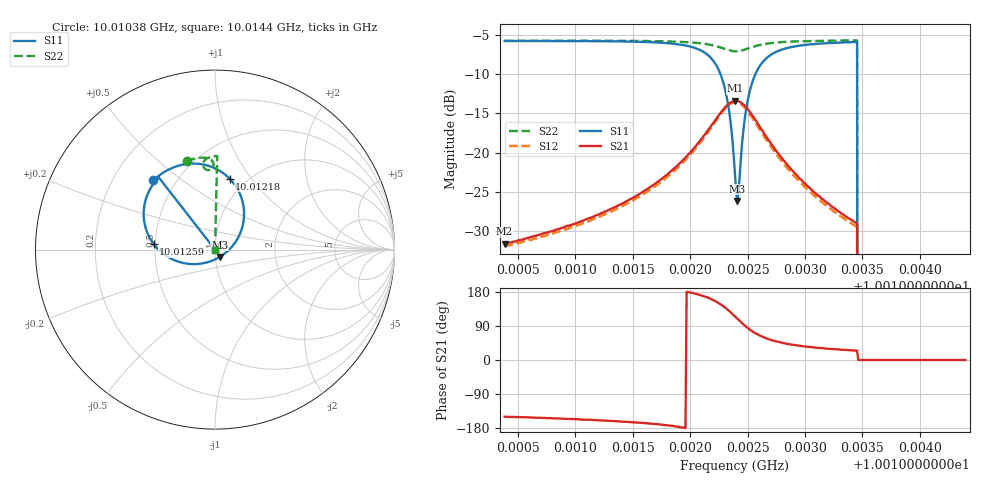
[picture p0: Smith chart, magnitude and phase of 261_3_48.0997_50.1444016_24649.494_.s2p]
#  HZ  S  RI  R  50.00
! Rohde & Schwarz Vector Network Analyzer
! Rohde-Schwarz,ZNB20-2Port,1311601062101988,3.16
! Created: UTC 12/23/2023, 4:00:46 AM
! freq[Hz]  re:S11  im:S11  re:S21  im:S21  re:S12  im:S12  re:S22  im:S22
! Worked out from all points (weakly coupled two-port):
!   401 points, 10.01038 GHz to 10.0144 GHz, reference 50 ohm
!   highest |S21| = -13.38 dB at 10.01239 GHz (marker M1); lowest = -31.7 dB at 10.01038 GHz (marker M2)
!   lowest |S11| = -26.2 dB at 10.01241 GHz (marker M3), VSWR 1.10, Z = 52.5 - j4.35 ohm
!   |S11| at or under -10 dB: 10.01226 GHz to 10.01257 GHz (302.5 kHz wide, 0.00302 % of centre); 10.01345 GHz to end of sweep
!   |S22| runs from - to -5.7 dB; largest |S21 - S12| = 0.0099
!   S11 on the Smith chart (normalised r, x): 10.01038 GHz: 0.37, +0.40; 10.01218 GHz: 0.84, +0.79; 10.01259 GHz: 0.49, +0.03; 10.0144 GHz: 1.00, +0.00
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1.0010384e10  -0.3441 0.3864  -0.0225 -0.0132  -0.021 -0.0138  -0.1583 0.4947
1.0011056e10  -0.2876 0.4294  -0.0335 -0.014  -0.0317 -0.0152  -0.1135 0.5069
1.0011728e10  -0.1742 0.4745  -0.0648 -0.0116  -0.0618 -0.0146  -0.0612 0.5125
1.0012019e10  -0.0484 0.4702  -0.1037 0.00542  -0.1005 -0.000202  -0.0309 0.5057
1.0012179e10  0.0811 0.3958  -0.1393 0.0471  -0.138 0.0385  -0.0123 0.489
1.001225e10  0.141 0.3052  -0.1502 0.0872  -0.1512 0.0774  -0.0081 0.4741
1.001231e10  0.1613 0.1807  -0.144 0.1343  -0.147 0.1253  -0.0116 0.4581
1.001235e10  0.137 0.0829  -0.1238 0.1679  -0.1281 0.1599  -0.0201 0.4484
1.001239e10  0.0723 -0.0066  -0.0904 0.1943  -0.0957 0.1866  -0.0323 0.4432
1.001241e10  0.0263 -0.0413  -0.0697 0.202  -0.0754 0.1949  -0.0391 0.443
1.001243e10  -0.0259 -0.0656  -0.0484 0.2057  -0.0533 0.1992  -0.046 0.4442
1.001246e10  -0.1053 -0.0808  -0.0178 0.2032  -0.0223 0.1972  -0.0548 0.4491
1.001249e10  -0.1805 -0.074  0.00981 0.1936  0.00396 0.1877  -0.0612 0.4561
1.0012531e10  -0.2627 -0.0406  0.0375 0.1735  0.0312 0.168  -0.0657 0.4662
1.0012591e10  -0.342 0.0315  0.0596 0.14  0.0529 0.1361  -0.0657 0.4805
1.0012671e10  -0.387 0.1227  0.0689 0.1029  0.0621 0.1006  -0.0594 0.4946
1.0012791e10  -0.3966 0.2214  0.0649 0.0673  0.0592 0.0664  -0.0466 0.5067
1.0013062e10  -0.3634 0.3341  0.0475 0.0318  0.0439 0.0323  -0.0198 0.5174
1.0013433e10  -0.3158 0.3998  0.0325 0.0152  0.0301 0.0158  0.0107 0.5212
1.0013483e10  0 0  0 0  0 0  0 0
1.0013734e10  0 0  0 0  0 0  0 0
1.0014396e10  0 0  0 0  0 0  0 0
